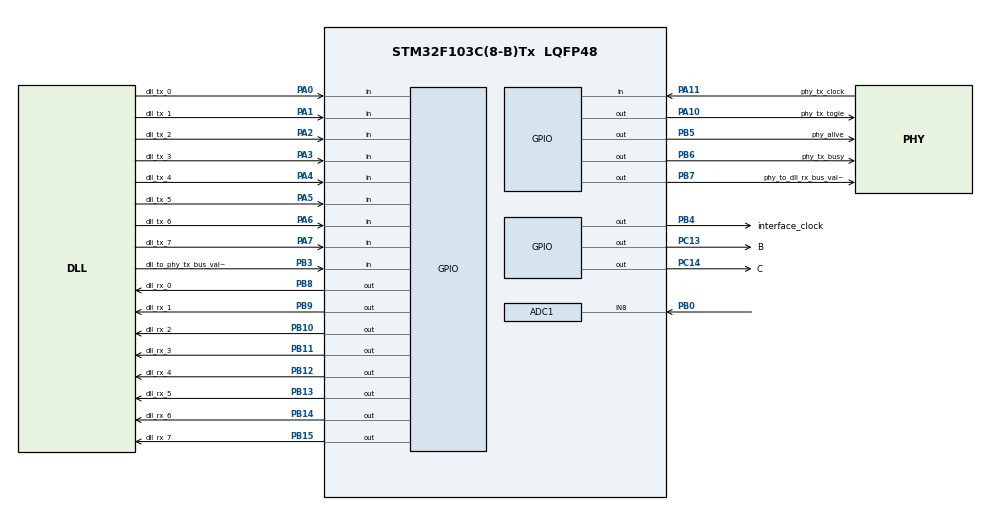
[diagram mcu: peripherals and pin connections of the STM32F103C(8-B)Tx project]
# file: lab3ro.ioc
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ADC1.Channel-0\#ChannelRegularConversion=ADC_CHANNEL_8
ADC1.ContinuousConvMode=ENABLE
ADC1.NbrOfConversionFlag=1
ADC1.Rank-0\#ChannelRegularConversion=1
ADC1.SamplingTime-0\#ChannelRegularConversion=ADC_SAMPLETIME_1CYCLE_5
ADC1.master=1
Mcu.Family=STM32F1
Mcu.Name=STM32F103C(8-B)Tx
Mcu.Package=LQFP48
NVIC.PriorityGroup=NVIC_PRIORITYGROUP_4
NVIC.TIM2_IRQn=true\:0\:0\:false\:true\:true\:1\:true
NVIC.TIM3_IRQn=true\:0\:0\:false\:true\:true\:2\:true
NVIC.TIM4_IRQn=true\:0\:0\:false\:true\:true\:3\:true
PA0-WKUP.GPIO_Label=dll_tx_0
PA0-WKUP.GPIO_PuPd=GPIO_PULLDOWN
PA0-WKUP.Signal=GPIO_Input
PA1.GPIO_Label=dll_tx_1
PA1.GPIO_PuPd=GPIO_PULLDOWN
PA1.Signal=GPIO_Input
PA10.GPIO_Label=phy_tx_togle
PA10.Signal=GPIO_Output
PA11.GPIO_Label=phy_tx_clock
PA11.Signal=GPIO_Input
PA13.Mode=Serial_Wire
PA13.Signal=SYS_JTMS-SWDIO
PA14.Mode=Serial_Wire
PA14.Signal=SYS_JTCK-SWCLK
PA2.GPIO_Label=dll_tx_2
PA2.GPIO_PuPd=GPIO_PULLDOWN
PA2.Signal=GPIO_Input
PA3.GPIO_Label=dll_tx_3
PA3.GPIO_PuPd=GPIO_PULLDOWN
PA3.Signal=GPIO_Input
PA4.GPIO_Label=dll_tx_4
PA4.GPIO_PuPd=GPIO_PULLDOWN
PA4.Signal=GPIO_Input
PA5.GPIO_Label=dll_tx_5
PA5.GPIO_PuPd=GPIO_PULLDOWN
PA5.Signal=GPIO_Input
PA6.GPIO_Label=dll_tx_6
PA6.GPIO_PuPd=GPIO_PULLDOWN
PA6.Signal=GPIO_Input
PA7.GPIO_Label=dll_tx_7
PA7.GPIO_PuPd=GPIO_PULLDOWN
PA7.Signal=GPIO_Input
PB0.Signal=ADCx_IN8
PB10.GPIO_Label=dll_rx_2
PB10.Signal=GPIO_Output
PB11.GPIO_Label=dll_rx_3
PB11.Signal=GPIO_Output
PB12.GPIO_Label=dll_rx_4
PB12.Signal=GPIO_Output
PB13.GPIO_Label=dll_rx_5
PB13.Signal=GPIO_Output
PB14.GPIO_Label=dll_rx_6
PB14.Signal=GPIO_Output
PB15.GPIO_Label=dll_rx_7
PB15.Signal=GPIO_Output
PB3.GPIO_Label=dll_to_phy_tx_bus_valid
PB3.GPIO_PuPd=GPIO_PULLDOWN
PB3.Signal=GPIO_Input
PB4.GPIO_Label=interface_clock
PB4.Signal=GPIO_Output
PB5.GPIO_Label=phy_alive
PB5.Signal=GPIO_Output
PB6.GPIO_Label=phy_tx_busy
PB6.Signal=GPIO_Output
PB7.GPIO_Label=phy_to_dll_rx_bus_valid
PB7.Signal=GPIO_Output
PB8.GPIO_Label=dll_rx_0
PB8.Signal=GPIO_Output
PB9.GPIO_Label=dll_rx_1
PB9.Signal=GPIO_Output
PC13-TAMPER-RTC.GPIO_Label=B
PC13-TAMPER-RTC.Signal=GPIO_Output
PC14-OSC32_IN.GPIO_Label=C
PC14-OSC32_IN.Signal=GPIO_Output
ProjectManager.HeapSize=0x200
ProjectManager.StackSize=0x400
ProjectManager.TargetToolchain=MDK-ARM V5
RCC.APB1Freq_Value=8000000
RCC.APB2CLKDivider=RCC_HCLK_DIV16
RCC.APB2Freq_Value=500000
RCC.APB2TimFreq_Value=1000000
SH.ADCx_IN8.0=ADC1_IN8,IN8
TIM2.Period=4
TIM2.Prescaler=19999
TIM3.Period=1
TIM3.Prescaler=4999
TIM4.AutoReloadPreload=TIM_AUTORELOAD_PRELOAD_ENABLE
TIM4.Period=1
TIM4.Prescaler=3332
VP_TIM2_VS_ClockSourceINT.Mode=Internal
VP_TIM3_VS_ClockSourceINT.Mode=Internal
VP_TIM4_VS_ClockSourceINT.Mode=Internal
board=custom

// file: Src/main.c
/**
  ******************************************************************************
  * @file           : main.c
  * @brief          : Main program body
  ******************************************************************************
  ** This notice applies to any and all portions of this file
  * that are not between comment pairs USER CODE BEGIN and
  * USER CODE END. Other portions of this file, whether
  * inserted by the user or by software development tools
  * are owned by their respective copyright owners.
  *
  * COPYRIGHT(c) 2020 STMicroelectronics
  *
  * Redistribution and use in source and binary forms, with or without modification,
  * are permitted provided that the following conditions are met:
  *   1. Redistributions of source code must retain the above copyright notice,
  *      this list of conditions and the following disclaimer.
  *   2. Redistributions in binary form must reproduce the above copyright notice,
  *      this list of conditions and the following disclaimer in the documentation
  *      and/or other materials provided with the distribution.
  *   3. Neither the name of STMicroelectronics nor the names of its contributors
  *      may be used to endorse or promote products derived from this software
  *      without specific prior written permission.
  *
  * THIS SOFTWARE IS PROVIDED BY THE COPYRIGHT HOLDERS AND CONTRIBUTORS "AS IS"
  * AND ANY EXPRESS OR IMPLIED WARRANTIES, INCLUDING, BUT NOT LIMITED TO, THE
  * IMPLIED WARRANTIES OF MERCHANTABILITY AND FITNESS FOR A PARTICULAR PURPOSE ARE
  * DISCLAIMED. IN NO EVENT SHALL THE COPYRIGHT HOLDER OR CONTRIBUTORS BE LIABLE
  * FOR ANY DIRECT, INDIRECT, INCIDENTAL, SPECIAL, EXEMPLARY, OR CONSEQUENTIAL
  * DAMAGES (INCLUDING, BUT NOT LIMITED TO, PROCUREMENT OF SUBSTITUTE GOODS OR
  * SERVICES; LOSS OF USE, DATA, OR PROFITS; OR BUSINESS INTERRUPTION) HOWEVER
  * CAUSED AND ON ANY THEORY OF LIABILITY, WHETHER IN CONTRACT, STRICT LIABILITY,
  * OR TORT (INCLUDING NEGLIGENCE OR OTHERWISE) ARISING IN ANY WAY OUT OF THE USE
  * OF THIS SOFTWARE, EVEN IF ADVISED OF THE POSSIBILITY OF SUCH DAMAGE.
  *
  ******************************************************************************
  */
#include "main.h"
#include "stm32f1xx_hal.h"

/* USER CODE BEGIN Includes */
#include <stdint.h>
#include <stdlib.h>
#define GPIOA_IDR 0x40010808
#define GPIOB_ODR 0x40010C0C
#define HIGH_THRESH 3200
#define LOW_THRESH 1500

/* USER CODE END Includes */

ADC_HandleTypeDef hadc1;

TIM_HandleTypeDef htim2;
TIM_HandleTypeDef htim3;
TIM_HandleTypeDef htim4;

/* USER CODE BEGIN PV */
/* Private variables ---------------------------------------------------------*/
uint32_t phy_to_dll_rx_bus = 0; // saves the data recived from the phy to phy and moves it to the dll_rx

uint8_t phy_to_dll_rx_bus_valid = 0; // checks if there is data to be transferd to the dll_rx from the phy layer

uint32_t dll_to_phy_tx_bus = 0; // saves the original data we want to transfer to the phy layer from the dll tx.

uint8_t dll_to_phy_tx_bus_valid = 0; // checks if theres data allready transferd from the dll to the [hy layer

uint8_t phy_tx_busy = 0; // checks if there is data being transmited at the moment.

int delay =0;
static uint8_t pr_clock_val=0;
static uint8_t p_clock_val = 0;
static uint32_t Rx_value = 0;
static uint32_t Tx_value = 0;
static uint8_t Rx_clock_value ;
static uint8_t Tx_clock_value ;
static uint16_t t_data =0;
static uint32_t c_clock=0;
int ft_flag=1;
static uint32_t prv_clock=0;
int ft2_flag=1;
uint8_t data=0;
uint8_t interface_tx_flag=0;
uint8_t interface_rx_flag=0;
static uint32_t *GPIOA_IDR_Pointer = (uint32_t*)GPIOA_IDR;
static uint32_t *GPIOB_ODR_Pointer = (uint32_t*)GPIOB_ODR;
static uint16_t odr_temp=0;
static uint32_t tempi = 0;
static uint32_t tempi2 = 0;
static uint32_t  biti=0;
uint32_t clock = 0;
int samples =0;
char all_samples[5] = {0};
char its_for_1samp ;
uint32_t before_clock =0;
static int phy_counter=0;
uint32_t bit_mover =0;

/* USER CODE END PV */

void SystemClock_Config(void);
static void MX_GPIO_Init(void);
static void MX_TIM2_Init(void);
static void MX_TIM3_Init(void);
static void MX_TIM4_Init(void);
static void MX_ADC1_Init(void);
static void MX_NVIC_Init(void);

/* USER CODE BEGIN PFP */
/* Private function prototypes -----------------------------------------------*/

/* USER CODE END PFP */

/* USER CODE BEGIN 0 */

void just_sample_it(uint32_t holder, char all_samples[5])
{
		if( holder <LOW_THRESH )
		{
			all_samples[samples] = 'L';
			samples ++;
		}
		else if (holder > HIGH_THRESH )
		{
			all_samples[samples] = 'H';
			samples ++;
		}
		else if ((LOW_THRESH < holder)&& (holder < HIGH_THRESH))
		{
			all_samples[samples] = 'I';
			samples ++;
		}
}

void just_send_it(char state)
{
	switch(state)
	{
		case 'H':
			HAL_GPIO_WritePin(B_GPIO_Port, B_Pin, GPIO_PIN_SET); //send hige
			HAL_GPIO_WritePin(C_GPIO_Port, C_Pin, GPIO_PIN_SET);
			break;
		case 'L':
			HAL_GPIO_WritePin(B_GPIO_Port, B_Pin, GPIO_PIN_RESET); //send low
			HAL_GPIO_WritePin(C_GPIO_Port, C_Pin, GPIO_PIN_SET);
			break;
		case 'I':
			HAL_GPIO_WritePin(B_GPIO_Port, B_Pin, GPIO_PIN_RESET); //send idle
			HAL_GPIO_WritePin(C_GPIO_Port, C_Pin, GPIO_PIN_RESET);

	}

}

void phy_Tx()
{
	static uint16_t shifter =1; // for the masking in order to iso the bit
	static uint8_t transfer = 0; // var to the masked bit // saves the prev clock value in order to check that we are in rising edge
	static uint8_t temp=0;	// takes the data from the bus
	Tx_clock_value = HAL_GPIO_ReadPin(phy_tx_clock_GPIO_Port, phy_tx_clock_Pin); // reads the current value of the clcok
	if(interface_tx_flag){  // checkes if we are in a new byte
		HAL_GPIO_WritePin(phy_tx_busy_GPIO_Port, phy_tx_busy_Pin, GPIO_PIN_SET); //set phy busy to 1
		HAL_TIM_Base_Start(&htim3); //turn on timer
		HAL_TIM_Base_Start_IT(&htim3);
		interface_tx_flag=0;
	}
	else if (Tx_clock_value && (!p_clock_val) && shifter <= 256) // checks if we are in a rising edge
	{
			transfer = ((dll_to_phy_tx_bus) &	(shifter));
			if (transfer == shifter)
			{
				just_send_it('H');
			}
			else
			{
				just_send_it('L');
			}
	}
	else if (!Tx_clock_value && (p_clock_val) && shifter <= 256) // checks if we are in a rising edge
	{
			transfer = ((dll_to_phy_tx_bus) &	(shifter));
			if (transfer == shifter)
			{
				just_send_it('L');
			}
			else
			{
				just_send_it('H');
			}
			shifter = shifter*2;
	}

	else if ( shifter > 256) // after the last bit
	{
		HAL_TIM_Base_Stop(&htim3);
		HAL_TIM_Base_Stop_IT(&htim3);
		HAL_GPIO_WritePin(phy_tx_clock_GPIO_Port, phy_tx_clock_Pin ,GPIO_PIN_RESET); //set clock to zero
		HAL_GPIO_WritePin(phy_tx_busy_GPIO_Port, phy_tx_busy_Pin, GPIO_PIN_RESET); //set phy busy to 1
		shifter =1; // reset the masker
	}
	p_clock_val = Tx_clock_value; // current clock into previos clock
}

/*
void phy_Tx()
{
	static uint16_t shifter =1; // for the masking in order to iso the bit
	static uint8_t transfer = 0; // var to the masked bit // saves the prev clock value in order to check that we are in rising edge
	static int first_idle=1;
	static int countergood=1;
	static int flagfix =0;
	static int flagfix2 =0;
	static int flagfix3 =0;

	if (countergood)
	{
		HAL_TIM_Base_Start(&htim4); //turn on timer
		HAL_TIM_Base_Start_IT(&htim4);
		countergood=0;
	}
	if(!interface_tx_flag&&first_idle)
	{
		just_send_it('I');
		first_idle =0;
	}

	if(interface_tx_flag)
	{  														// checkes if we are in a new byte
		HAL_GPIO_WritePin(phy_tx_busy_GPIO_Port, phy_tx_busy_Pin, GPIO_PIN_SET); //set phy busy to 1
		phy_tx_busy=1;
		HAL_TIM_Base_Start(&htim3); //turn on timer
		HAL_TIM_Base_Start_IT(&htim3);
		interface_tx_flag=0;
	}
	transfer = ((dll_to_phy_tx_bus) &	(shifter));
	if((!before_clock) && clock && !flagfix)
	{
		if (transfer == shifter)
		{
			just_send_it('H');
			flagfix=1;
		}
		else
		{
			just_send_it('L');
			flagfix=1;
		}
	}
	if(before_clock && !clock && flagfix )
	{
		if (transfer == shifter)
		{
			just_send_it('L');
			shifter*=2;
			flagfix=0;
		}
		else
		{
			just_send_it('H');
			shifter*=2;
			flagfix=0;
		}
	}

	if ( shifter > 128) // after the last bit
	{
		HAL_TIM_Base_Stop(&htim3);
		HAL_TIM_Base_Stop_IT(&htim3);
		just_send_it('I'); // put idle on the line
		HAL_GPIO_WritePin(phy_tx_busy_GPIO_Port, phy_tx_busy_Pin, GPIO_PIN_RESET); //set phy busy to 0
		phy_tx_busy=0;
		shifter =1; // reset the masker
	}
	*/

/*

void phy_Tx()
{
	static int flagfix =0;
	static int flagfix2 =0;
	static int flagfix3 =0;
	static int first_idle=1;
	static int first_3_ones = 0;
	static uint16_t shifter =1; // for the masking in order to iso the bit
	static uint8_t transfer = 0; // var to the masked bit // saves the prev clock value in order to check that we are in rising edge
	static uint8_t temp=0;	// takes the data from the bus
	static int finished_bit =1;
	static int countergood=1;

	if (countergood)
	{
		HAL_TIM_Base_Start(&htim4); //turn on timer
		HAL_TIM_Base_Start_IT(&htim4);
		countergood=0;
	}
	if(!interface_tx_flag&&first_idle)
	{
		just_send_it('I');
		first_idle =0;
	}

	if(interface_tx_flag)
		{  														// checkes if we are in a new byte
		HAL_GPIO_WritePin(phy_tx_busy_GPIO_Port, phy_tx_busy_Pin, GPIO_PIN_SET); //set phy busy to 1
		phy_tx_busy=1;
		HAL_TIM_Base_Start(&htim3); //turn on timer
		HAL_TIM_Base_Start_IT(&htim3);
		interface_tx_flag=0;
		}
	if((first_3_ones <3))
	{
		if((!before_clock) && (clock) && !flagfix)
		{
			just_send_it('H');
			flagfix=1;
		}
		else if((before_clock) && (!clock) && flagfix)
		{
			just_send_it('L');
			first_3_ones++;
			flagfix=0;
		}
	}
	else if (first_3_ones>=3 && shifter<256 )
	{
		if (finished_bit)
		{
			transfer = ((dll_to_phy_tx_bus) &	(shifter));
			finished_bit=0;
		}
		if(transfer == shifter)
		{
			if((!before_clock) && (clock) && !flagfix2 )
			{
				just_send_it('H');
				just_send_it('H');
				flagfix2=1;
			}
			else if((before_clock) && (!clock) && flagfix2)
			{
				just_send_it('L');
				shifter*=2;
				finished_bit=1;
				flagfix2=0;
			}
		}
		else
		{
			if((!before_clock) && (clock) && !flagfix3)
			{
				just_send_it('L');
				flagfix3=1;
			}
			else if((before_clock) && (!clock) && flagfix3)
			{
				just_send_it('H');
				shifter*=2;
				finished_bit=1;
				flagfix3=0;
			}
		}
	}
	else if ( shifter > 128) // after the last bit
	{
		HAL_TIM_Base_Stop(&htim3);
		HAL_TIM_Base_Stop_IT(&htim3);
		//just_send_it('I'); // put idle on the line
		HAL_GPIO_WritePin(phy_tx_busy_GPIO_Port, phy_tx_busy_Pin, GPIO_PIN_RESET); //set phy busy to 0
		phy_tx_busy=0;
		shifter =1; // reset the masker
	}

}
*/
/*
void phy_Rx()
{
	static uint32_t tempi = 0;
	static uint32_t tempi2 = 0;
	static uint32_t masker =1;
	if(samples < 4)
	{
		return;
	}
	if (all_samples [1] == 'I' && all_samples[2] == 'I' )
	{
		return;
	}
	if ( (all_samples[0] == 'L'	&& all_samples[1] == 'L' && all_samples[2] == 'L' && all_samples[3] == 'H' && all_samples[4] == 'H') || (all_samples[0] == 'L'	&& all_samples[1] == 'L' && all_samples[2] == 'H' && all_samples[3] == 'H' && all_samples[4] == 'H'))
	{
		masker *=2;
		samples =0;
	}
	else if ((all_samples[0] == 'H'	&& all_samples[1] == 'H' && all_samples[2] == 'L' && all_samples[3] == 'L' && all_samples[4] == 'L') || (all_samples[0] == 'H'	&& all_samples[1] == 'H' && all_samples[2] == 'H' && all_samples[3] == 'L' && all_samples[4] == 'L'))
	{
		// the bit is 1 add one to the bus uising masking
		tempi2+=masker;
		masker*=2;
		samples =0;
	}

	if (masker >128)
	{
		phy_to_dll_rx_bus=tempi2;
		tempi2=0;
		interface_rx_flag=1;
		masker=1;
	}

}

*/
void phy_Rx()
{
	static uint32_t tempi = 0;
	static uint32_t tempi2 = 0;
	static int sfirst_3_ones =0;
	static uint32_t masker =1;
	static int replace_counter =0;
	static int syncer = 1; \
	phy_counter++;
	if(samples < 5)
	{
		return;
	}
	else if (!bit_mover)
	{
		masker *=2;
		samples =0;
		biti=0;
	}
	else if (bit_mover==1)
	{
		// the bit is 1 add one to the bus uising masking
		tempi2+=masker;
		masker*=2;
		samples =0;
		biti =2;
	}

	else
		return;

	if (masker >128)
	{
		phy_to_dll_rx_bus=tempi2;
		tempi2=0;
		interface_rx_flag=1;
		masker=1;
		sfirst_3_ones=0;
	}
}

void interface()
{
	uint32_t efi =0; // just kidding efi num 1 also oren
	if (ft_flag)
	{
		HAL_TIM_Base_Start(&htim2);
		HAL_TIM_Base_Start_IT(&htim2);
		ft_flag=0;
		prv_clock=0;
	}
	//dll_to_phy_tx_bus_valid=HAL_GPIO_ReadPin(dll_to_phy_tx_bus_valid_GPIO_Port, dll_to_phy_tx_bus_valid_Pin);
	if(!c_clock&&prv_clock&&dll_to_phy_tx_bus_valid)
	{
		dll_to_phy_tx_bus=(*GPIOA_IDR_Pointer & 255);
		interface_tx_flag=1;
		samples =0;
	}
	else if ((c_clock)&&(!prv_clock))
		{
			if (ft2_flag)
			{
				HAL_GPIO_WritePin(phy_alive_GPIO_Port, phy_alive_Pin,GPIO_PIN_SET);
				ft2_flag=0;
			}
			phy_to_dll_rx_bus_valid=HAL_GPIO_ReadPin(phy_to_dll_rx_bus_valid_GPIO_Port, phy_to_dll_rx_bus_valid_Pin);
			if (phy_to_dll_rx_bus_valid)
			{
				HAL_GPIO_WritePin(phy_to_dll_rx_bus_valid_GPIO_Port, phy_to_dll_rx_bus_valid_Pin,GPIO_PIN_RESET);
			}
			if (interface_rx_flag)
			{
				efi = (phy_to_dll_rx_bus<<8) + (*GPIOB_ODR_Pointer & 255);
				*GPIOB_ODR_Pointer = efi;
				HAL_GPIO_WritePin(phy_to_dll_rx_bus_valid_GPIO_Port,phy_to_dll_rx_bus_valid_Pin,GPIO_PIN_SET);
				phy_to_dll_rx_bus_valid =1;
				//phy_to_dll_rx_bus=0;
				interface_rx_flag=0;
			}
		}

}

void phy_layer()
{
	phy_Tx();
	phy_Rx();

}
void sampleClocks()
{
    before_clock = clock;
		prv_clock=c_clock;
		//phy_rx_clock = HAL_GPIO_ReadPin(phy_rx_clock_GPIO_Port,phy_rx_clock_Pin);
    c_clock = HAL_GPIO_ReadPin(interface_clock_GPIO_Port,interface_clock_Pin);
    dll_to_phy_tx_bus_valid = HAL_GPIO_ReadPin(dll_to_phy_tx_bus_valid_GPIO_Port, dll_to_phy_tx_bus_valid_Pin);
    phy_to_dll_rx_bus_valid = HAL_GPIO_ReadPin(phy_to_dll_rx_bus_valid_GPIO_Port, phy_to_dll_rx_bus_valid_Pin);
}

/* USER CODE END 0 */

int main(void)
{

  /* MCU Configuration----------------------------------------------------------*/

  /* Reset of all peripherals, Initializes the Flash interface and the Systick. */
  HAL_Init();

  /* Configure the system clock */
  SystemClock_Config();

  /* Initialize all configured peripherals */
  MX_GPIO_Init();
  MX_TIM2_Init();
  MX_TIM3_Init();
  MX_TIM4_Init();
  MX_ADC1_Init();

  /* Initialize interrupts */
  MX_NVIC_Init();
  /* USER CODE BEGIN 2 */
	clock =0;
	HAL_ADC_Start(&hadc1);
  /* USER CODE END 2 */

  /* Infinite loop */
  /* USER CODE BEGIN WHILE */
  while (1)
  {
		sampleClocks();
		phy_layer();
		interface();

  /* USER CODE END WHILE */

  }

}

void SystemClock_Config(void)
{

  RCC_OscInitTypeDef RCC_OscInitStruct;
  RCC_ClkInitTypeDef RCC_ClkInitStruct;
  RCC_PeriphCLKInitTypeDef PeriphClkInit;

    /**Initializes the CPU, AHB and APB busses clocks
    */
  RCC_OscInitStruct.OscillatorType = RCC_OSCILLATORTYPE_HSI;
  RCC_OscInitStruct.HSIState = RCC_HSI_ON;
  RCC_OscInitStruct.HSICalibrationValue = 16;
  RCC_OscInitStruct.PLL.PLLState = RCC_PLL_NONE;
  if (HAL_RCC_OscConfig(&RCC_OscInitStruct) != HAL_OK)
  {
    _Error_Handler(__FILE__, __LINE__);
  }

    /**Initializes the CPU, AHB and APB busses clocks
    */
  RCC_ClkInitStruct.ClockType = RCC_CLOCKTYPE_HCLK|RCC_CLOCKTYPE_SYSCLK
                              |RCC_CLOCKTYPE_PCLK1|RCC_CLOCKTYPE_PCLK2;
  RCC_ClkInitStruct.SYSCLKSource = RCC_SYSCLKSOURCE_HSI;
  RCC_ClkInitStruct.AHBCLKDivider = RCC_SYSCLK_DIV1;
  RCC_ClkInitStruct.APB1CLKDivider = RCC_HCLK_DIV1;
  RCC_ClkInitStruct.APB2CLKDivider = RCC_HCLK_DIV16;

  if (HAL_RCC_ClockConfig(&RCC_ClkInitStruct, FLASH_LATENCY_0) != HAL_OK)
  {
    _Error_Handler(__FILE__, __LINE__);
  }

  PeriphClkInit.PeriphClockSelection = RCC_PERIPHCLK_ADC;
  PeriphClkInit.AdcClockSelection = RCC_ADCPCLK2_DIV2;
  if (HAL_RCCEx_PeriphCLKConfig(&PeriphClkInit) != HAL_OK)
  {
    _Error_Handler(__FILE__, __LINE__);
  }

    /**Configure the Systick interrupt time
    */
  HAL_SYSTICK_Config(HAL_RCC_GetHCLKFreq()/1000);

    /**Configure the Systick
    */
  HAL_SYSTICK_CLKSourceConfig(SYSTICK_CLKSOURCE_HCLK);

  /* SysTick_IRQn interrupt configuration */
  HAL_NVIC_SetPriority(SysTick_IRQn, 0, 0);
}

/**
  * @brief NVIC Configuration.
  * @retval None
  */
static void MX_NVIC_Init(void)
{
  /* TIM2_IRQn interrupt configuration */
  HAL_NVIC_SetPriority(TIM2_IRQn, 0, 0);
  HAL_NVIC_EnableIRQ(TIM2_IRQn);
  /* TIM3_IRQn interrupt configuration */
  HAL_NVIC_SetPriority(TIM3_IRQn, 0, 0);
  HAL_NVIC_EnableIRQ(TIM3_IRQn);
  /* TIM4_IRQn interrupt configuration */
  HAL_NVIC_SetPriority(TIM4_IRQn, 0, 0);
  HAL_NVIC_EnableIRQ(TIM4_IRQn);
}

/* ADC1 init function */
static void MX_ADC1_Init(void)
{

  ADC_ChannelConfTypeDef sConfig;

    /**Common config
    */
  hadc1.Instance = ADC1;
  hadc1.Init.ScanConvMode = ADC_SCAN_DISABLE;
  hadc1.Init.ContinuousConvMode = ENABLE;
  hadc1.Init.DiscontinuousConvMode = DISABLE;
  hadc1.Init.ExternalTrigConv = ADC_SOFTWARE_START;
  hadc1.Init.DataAlign = ADC_DATAALIGN_RIGHT;
  hadc1.Init.NbrOfConversion = 1;
  if (HAL_ADC_Init(&hadc1) != HAL_OK)
  {
    _Error_Handler(__FILE__, __LINE__);
  }

    /**Configure Regular Channel
    */
  sConfig.Channel = ADC_CHANNEL_8;
  sConfig.Rank = ADC_REGULAR_RANK_1;
  sConfig.SamplingTime = ADC_SAMPLETIME_1CYCLE_5;
  if (HAL_ADC_ConfigChannel(&hadc1, &sConfig) != HAL_OK)
  {
    _Error_Handler(__FILE__, __LINE__);
  }

}

/* TIM2 init function */
static void MX_TIM2_Init(void)
{

  TIM_ClockConfigTypeDef sClockSourceConfig;
  TIM_MasterConfigTypeDef sMasterConfig;

  htim2.Instance = TIM2;
  htim2.Init.Prescaler = 19999;
  htim2.Init.CounterMode = TIM_COUNTERMODE_UP;
  htim2.Init.Period = 4;
  htim2.Init.ClockDivision = TIM_CLOCKDIVISION_DIV1;
  htim2.Init.AutoReloadPreload = TIM_AUTORELOAD_PRELOAD_DISABLE;
  if (HAL_TIM_Base_Init(&htim2) != HAL_OK)
  {
    _Error_Handler(__FILE__, __LINE__);
  }

  sClockSourceConfig.ClockSource = TIM_CLOCKSOURCE_INTERNAL;
  if (HAL_TIM_ConfigClockSource(&htim2, &sClockSourceConfig) != HAL_OK)
  {
    _Error_Handler(__FILE__, __LINE__);
  }

  sMasterConfig.MasterOutputTrigger = TIM_TRGO_RESET;
  sMasterConfig.MasterSlaveMode = TIM_MASTERSLAVEMODE_DISABLE;
  if (HAL_TIMEx_MasterConfigSynchronization(&htim2, &sMasterConfig) != HAL_OK)
  {
    _Error_Handler(__FILE__, __LINE__);
  }

}

/* TIM3 init function */
static void MX_TIM3_Init(void)
{

  TIM_ClockConfigTypeDef sClockSourceConfig;
  TIM_MasterConfigTypeDef sMasterConfig;

  htim3.Instance = TIM3;
  htim3.Init.Prescaler = 4999;
  htim3.Init.CounterMode = TIM_COUNTERMODE_UP;
  htim3.Init.Period = 1;
  htim3.Init.ClockDivision = TIM_CLOCKDIVISION_DIV1;
  htim3.Init.AutoReloadPreload = TIM_AUTORELOAD_PRELOAD_DISABLE;
  if (HAL_TIM_Base_Init(&htim3) != HAL_OK)
  {
    _Error_Handler(__FILE__, __LINE__);
  }

  sClockSourceConfig.ClockSource = TIM_CLOCKSOURCE_INTERNAL;
  if (HAL_TIM_ConfigClockSource(&htim3, &sClockSourceConfig) != HAL_OK)
  {
    _Error_Handler(__FILE__, __LINE__);
  }

  sMasterConfig.MasterOutputTrigger = TIM_TRGO_RESET;
  sMasterConfig.MasterSlaveMode = TIM_MASTERSLAVEMODE_DISABLE;
  if (HAL_TIMEx_MasterConfigSynchronization(&htim3, &sMasterConfig) != HAL_OK)
  {
    _Error_Handler(__FILE__, __LINE__);
  }

}

/* TIM4 init function */
static void MX_TIM4_Init(void)
{

  TIM_ClockConfigTypeDef sClockSourceConfig;
  TIM_MasterConfigTypeDef sMasterConfig;

  htim4.Instance = TIM4;
  htim4.Init.Prescaler = 3332;
  htim4.Init.CounterMode = TIM_COUNTERMODE_UP;
  htim4.Init.Period = 1;
  htim4.Init.ClockDivision = TIM_CLOCKDIVISION_DIV1;
  htim4.Init.AutoReloadPreload = TIM_AUTORELOAD_PRELOAD_ENABLE;
  if (HAL_TIM_Base_Init(&htim4) != HAL_OK)
  {
    _Error_Handler(__FILE__, __LINE__);
  }

  sClockSourceConfig.ClockSource = TIM_CLOCKSOURCE_INTERNAL;
  if (HAL_TIM_ConfigClockSource(&htim4, &sClockSourceConfig) != HAL_OK)
  {
    _Error_Handler(__FILE__, __LINE__);
  }

  sMasterConfig.MasterOutputTrigger = TIM_TRGO_RESET;
  sMasterConfig.MasterSlaveMode = TIM_MASTERSLAVEMODE_DISABLE;
  if (HAL_TIMEx_MasterConfigSynchronization(&htim4, &sMasterConfig) != HAL_OK)
  {
    _Error_Handler(__FILE__, __LINE__);
  }

}

/** Configure pins as
        * Analog
        * Input
        * Output
        * EVENT_OUT
        * EXTI
*/
static void MX_GPIO_Init(void)
{

  GPIO_InitTypeDef GPIO_InitStruct;

  /* GPIO Ports Clock Enable */
  __HAL_RCC_GPIOC_CLK_ENABLE();
  __HAL_RCC_GPIOA_CLK_ENABLE();
  __HAL_RCC_GPIOB_CLK_ENABLE();

  /*Configure GPIO pin Output Level */
  HAL_GPIO_WritePin(GPIOC, B_Pin|C_Pin, GPIO_PIN_RESET);

  /*Configure GPIO pin Output Level */
  HAL_GPIO_WritePin(GPIOB, dll_rx_2_Pin|dll_rx_3_Pin|dll_rx_4_Pin|dll_rx_5_Pin
                          |dll_rx_6_Pin|dll_rx_7_Pin|interface_clock_Pin|phy_alive_Pin
                          |phy_tx_busy_Pin|phy_to_dll_rx_bus_valid_Pin|dll_rx_0_Pin|dll_rx_1_Pin, GPIO_PIN_RESET);

  /*Configure GPIO pin Output Level */
  HAL_GPIO_WritePin(phy_tx_togle_GPIO_Port, phy_tx_togle_Pin, GPIO_PIN_RESET);

  /*Configure GPIO pins : B_Pin C_Pin */
  GPIO_InitStruct.Pin = B_Pin|C_Pin;
  GPIO_InitStruct.Mode = GPIO_MODE_OUTPUT_PP;
  GPIO_InitStruct.Pull = GPIO_NOPULL;
  GPIO_InitStruct.Speed = GPIO_SPEED_FREQ_LOW;
  HAL_GPIO_Init(GPIOC, &GPIO_InitStruct);

  /*Configure GPIO pins : dll_tx_0_Pin dll_tx_1_Pin dll_tx_2_Pin dll_tx_3_Pin
                           dll_tx_4_Pin dll_tx_5_Pin dll_tx_6_Pin dll_tx_7_Pin */
  GPIO_InitStruct.Pin = dll_tx_0_Pin|dll_tx_1_Pin|dll_tx_2_Pin|dll_tx_3_Pin
                          |dll_tx_4_Pin|dll_tx_5_Pin|dll_tx_6_Pin|dll_tx_7_Pin;
  GPIO_InitStruct.Mode = GPIO_MODE_INPUT;
  GPIO_InitStruct.Pull = GPIO_PULLDOWN;
  HAL_GPIO_Init(GPIOA, &GPIO_InitStruct);

  /*Configure GPIO pins : dll_rx_2_Pin dll_rx_3_Pin dll_rx_4_Pin dll_rx_5_Pin
                           dll_rx_6_Pin dll_rx_7_Pin interface_clock_Pin phy_alive_Pin
                           phy_tx_busy_Pin phy_to_dll_rx_bus_valid_Pin dll_rx_0_Pin dll_rx_1_Pin */
  GPIO_InitStruct.Pin = dll_rx_2_Pin|dll_rx_3_Pin|dll_rx_4_Pin|dll_rx_5_Pin
                          |dll_rx_6_Pin|dll_rx_7_Pin|interface_clock_Pin|phy_alive_Pin
                          |phy_tx_busy_Pin|phy_to_dll_rx_bus_valid_Pin|dll_rx_0_Pin|dll_rx_1_Pin;
  GPIO_InitStruct.Mode = GPIO_MODE_OUTPUT_PP;
  GPIO_InitStruct.Pull = GPIO_NOPULL;
  GPIO_InitStruct.Speed = GPIO_SPEED_FREQ_LOW;
  HAL_GPIO_Init(GPIOB, &GPIO_InitStruct);

  /*Configure GPIO pin : phy_tx_togle_Pin */
  GPIO_InitStruct.Pin = phy_tx_togle_Pin;
  GPIO_InitStruct.Mode = GPIO_MODE_OUTPUT_PP;
  GPIO_InitStruct.Pull = GPIO_NOPULL;
  GPIO_InitStruct.Speed = GPIO_SPEED_FREQ_LOW;
  HAL_GPIO_Init(phy_tx_togle_GPIO_Port, &GPIO_InitStruct);

  /*Configure GPIO pin : phy_tx_clock_Pin */
  GPIO_InitStruct.Pin = phy_tx_clock_Pin;
  GPIO_InitStruct.Mode = GPIO_MODE_INPUT;
  GPIO_InitStruct.Pull = GPIO_NOPULL;
  HAL_GPIO_Init(phy_tx_clock_GPIO_Port, &GPIO_InitStruct);

  /*Configure GPIO pin : dll_to_phy_tx_bus_valid_Pin */
  GPIO_InitStruct.Pin = dll_to_phy_tx_bus_valid_Pin;
  GPIO_InitStruct.Mode = GPIO_MODE_INPUT;
  GPIO_InitStruct.Pull = GPIO_PULLDOWN;
  HAL_GPIO_Init(dll_to_phy_tx_bus_valid_GPIO_Port, &GPIO_InitStruct);

}

void _Error_Handler(char *file, int line)
{
  while(1)
  {
  }
}

/************************ (C) COPYRIGHT STMicroelectronics *****END OF FILE****/
